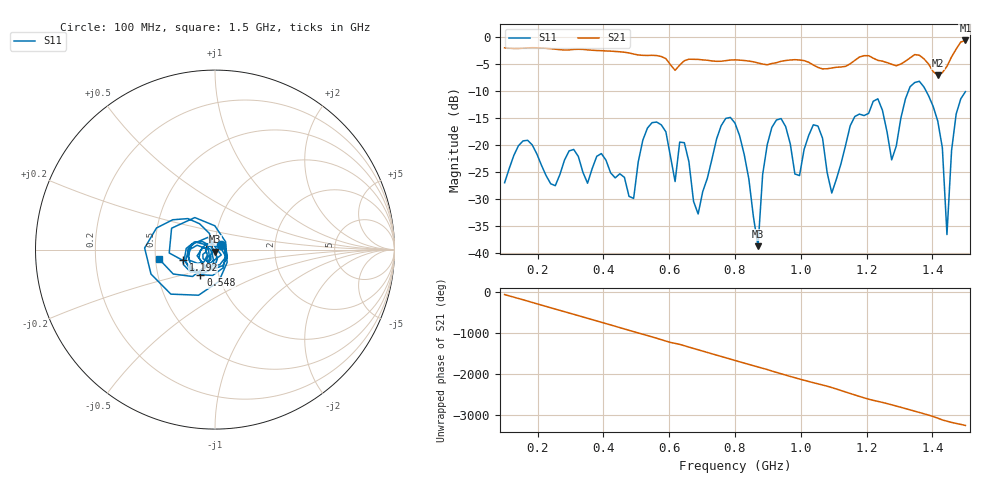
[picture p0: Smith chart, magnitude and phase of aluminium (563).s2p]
! NanoVNA-App
! Date: 2025-09-25 14:59:39
! Start: 100MHz Stop: 1,5GHz Points: 101
! S-Parameter data: F S11 S21 S12 S22
# Hz S RI R 50
!  Frequency  S11_Real  S11_Imag  S21_Real  S21_Imag  S12_Real  S12_Imag  S22_Real  S22_Imag
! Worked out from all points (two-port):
!   101 points, 100 MHz to 1.5 GHz, reference 50 ohm
!   highest |S21| = -0.55 dB at 1.5 GHz (marker M1); lowest = -7.0 dB at 1.416 GHz (marker M2)
!   |S21| within 3 dB of the highest: start of sweep to 576.6 MHz; 1.458 GHz to end of sweep (the widest 2 of 4)
!   lowest |S11| = -38.7 dB at 870 MHz (marker M3), VSWR 1.02, Z = 50.2 - j1.15 ohm
!   |S11| at or under -10 dB: start of sweep to 1.327 GHz; 1.381 GHz to end of sweep
!   S12 and S22 are empty: the file has one direction only
!   S11 on the Smith chart (normalised r, x): 100 MHz: 1.07, +0.06; 548 MHz: 0.82, -0.24; 1.192 GHz: 0.69, -0.08; 1.5 GHz: 0.52, -0.06
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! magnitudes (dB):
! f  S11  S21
! 100 MHz  -27.0  -1.9
! 156 MHz  -19.2  -2.0
! 338 MHz  -25.0  -2.2
! 492 MHz  -29.9  -3.1
! 548 MHz  -15.8  -3.3
! 576 MHz  -16.2  -3.5
! 646 MHz  -19.5  -4.3
! 688 MHz  -32.8  -4.1
! 800 MHz  -15.9  -4.1
! 870 MHz  -38.7  -4.7
! 912 MHz  -16.7  -4.8
! 996 MHz  -25.6  -4.2
! 1.038 GHz  -16.2  -5.1
! 1.094 GHz  -28.9  -5.7
! 1.192 GHz  -14.5  -3.4
! 1.234 GHz  -11.4  -4.2
! 1.276 GHz  -22.7  -5.0
! 1.346 GHz  -8.4  -3.2
! 1.416 GHz  -15.5  -7.0
! 1.444 GHz  -36.6  -5.3
! 1.472 GHz  -14.2  -2.1
! 1.5 GHz  -10.1  -0.6
